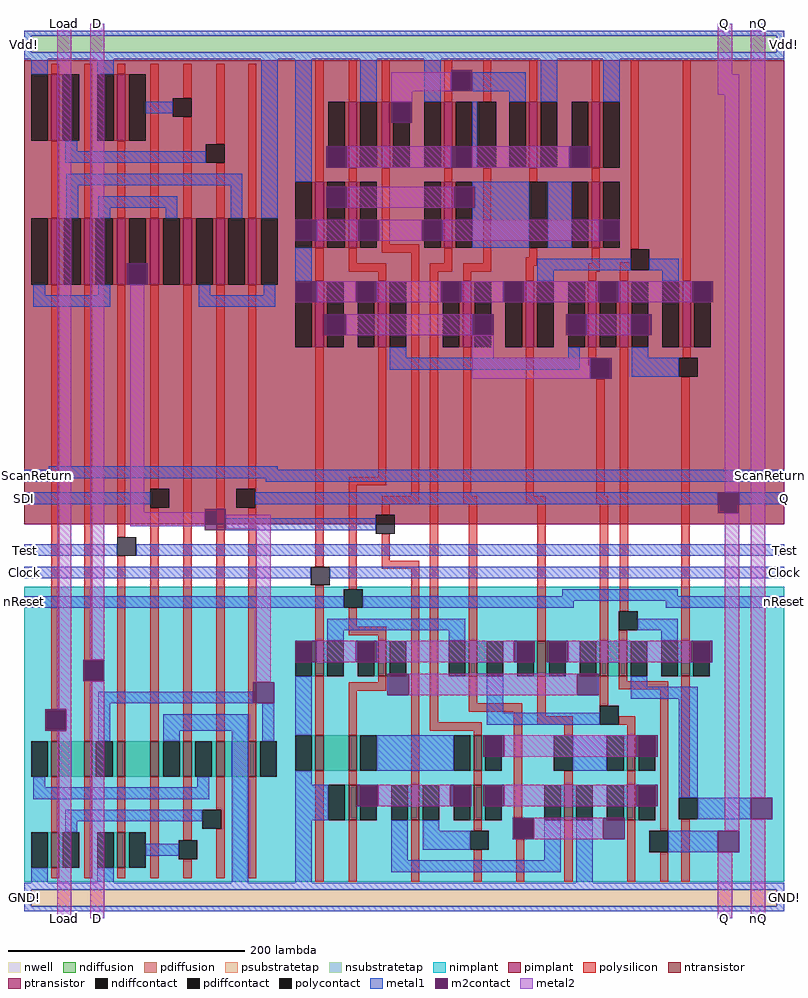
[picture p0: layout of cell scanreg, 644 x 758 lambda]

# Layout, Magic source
magic
tech c35b4
<< pimplant >>
rect 0 334 644 727
<< nimplant >>
rect 0 31 644 281
<< nwell >>
rect 0 334 644 752
<< polysilicon >>
rect 23 715 30 724
rect 23 593 30 659
rect 51 593 58 724
rect 79 715 86 724
rect 79 593 86 659
rect 107 593 114 724
rect 135 695 142 724
rect 135 593 142 679
rect 163 656 170 724
rect 163 593 170 640
rect 190 593 197 724
rect 247 624 254 727
rect 275 692 282 727
rect 303 692 310 727
rect 356 717 363 727
rect 356 701 362 717
rect 356 692 363 701
rect 389 692 396 727
rect 428 692 435 727
rect 481 692 488 727
rect 275 624 282 636
rect 303 571 310 636
rect 356 624 363 636
rect 247 540 254 568
rect 275 555 282 568
rect 303 564 335 571
rect 275 548 307 555
rect 300 540 307 548
rect 23 176 30 537
rect 51 219 58 537
rect 79 323 86 537
rect 107 364 114 537
rect 51 218 62 219
rect 51 201 62 202
rect 23 150 30 160
rect 51 150 58 201
rect 79 150 86 307
rect 107 150 114 348
rect 135 150 142 537
rect 163 150 170 537
rect 190 364 197 537
rect 196 348 197 364
rect 190 150 197 348
rect 247 298 254 484
rect 300 374 307 484
rect 275 367 307 374
rect 247 235 254 282
rect 275 279 282 367
rect 328 358 335 564
rect 356 555 363 568
rect 389 555 396 636
rect 428 624 435 636
rect 481 624 488 636
rect 428 560 435 568
rect 303 351 335 358
rect 344 548 363 555
rect 372 548 396 555
rect 425 553 435 560
rect 481 555 488 568
rect 514 567 521 727
rect 303 342 310 351
rect 303 303 310 326
rect 303 296 335 303
rect 275 247 282 263
rect 275 240 307 247
rect 300 235 307 240
rect 247 155 254 205
rect 300 200 307 205
rect 275 193 307 200
rect 275 155 282 193
rect 23 73 30 120
rect 23 34 30 43
rect 51 34 58 120
rect 79 73 86 120
rect 79 34 86 43
rect 107 34 114 120
rect 135 66 142 120
rect 163 92 170 120
rect 167 76 170 92
rect 135 34 142 50
rect 163 34 170 76
rect 190 34 197 120
rect 247 31 254 125
rect 275 113 282 125
rect 328 113 335 296
rect 344 166 351 548
rect 372 540 379 548
rect 425 540 432 553
rect 478 548 488 555
rect 505 549 514 556
rect 478 540 485 548
rect 505 540 512 549
rect 558 540 565 727
rect 372 358 379 484
rect 425 358 432 484
rect 478 475 485 484
rect 478 468 480 475
rect 485 358 492 457
rect 372 351 384 358
rect 425 351 442 358
rect 485 351 495 358
rect 377 235 384 351
rect 435 235 442 351
rect 488 235 495 351
rect 505 260 512 484
rect 558 475 565 484
rect 504 235 511 244
rect 557 235 564 459
rect 377 182 384 205
rect 377 175 422 182
rect 344 159 388 166
rect 381 155 388 159
rect 381 113 388 125
rect 415 85 422 175
rect 435 171 442 205
rect 488 180 495 205
rect 504 201 511 205
rect 504 194 546 201
rect 435 164 465 171
rect 504 164 518 171
rect 458 155 465 164
rect 511 155 518 164
rect 458 113 465 125
rect 511 113 518 125
rect 275 31 282 83
rect 328 31 335 83
rect 381 74 388 83
rect 381 31 388 58
rect 417 31 424 67
rect 458 31 465 83
rect 511 31 518 83
rect 539 74 546 194
rect 557 102 564 205
rect 539 31 546 56
rect 557 31 564 84
<< ndiffusion >>
rect 244 205 247 235
rect 254 205 257 235
rect 297 205 300 235
rect 307 205 310 235
rect 20 120 23 150
rect 30 120 51 150
rect 58 120 61 150
rect 75 120 79 150
rect 86 120 107 150
rect 114 120 118 150
rect 132 120 135 150
rect 142 120 145 150
rect 159 120 163 150
rect 170 120 190 150
rect 197 120 200 150
rect 244 125 247 155
rect 254 125 275 155
rect 282 125 285 155
rect 20 43 23 73
rect 30 43 33 73
rect 76 43 79 73
rect 86 43 89 73
rect 374 205 377 235
rect 384 205 392 235
rect 432 205 435 235
rect 442 205 445 235
rect 485 205 488 235
rect 495 205 504 235
rect 511 205 514 235
rect 554 205 557 235
rect 564 205 567 235
rect 378 125 381 155
rect 388 125 391 155
rect 272 83 275 113
rect 282 83 285 113
rect 325 83 328 113
rect 335 83 338 113
rect 378 83 381 113
rect 388 83 391 113
rect 508 125 511 155
rect 518 125 521 155
rect 455 83 458 113
rect 465 83 468 113
rect 508 83 511 113
rect 518 83 521 113
<< pdiffusion >>
rect 20 659 23 715
rect 30 659 33 715
rect 76 659 79 715
rect 86 659 89 715
rect 272 636 275 692
rect 282 636 285 692
rect 299 636 303 692
rect 310 636 313 692
rect 353 636 356 692
rect 363 636 366 692
rect 425 636 428 692
rect 435 636 438 692
rect 478 636 481 692
rect 488 636 491 692
rect 20 537 23 593
rect 30 537 34 593
rect 48 537 51 593
rect 58 537 61 593
rect 75 537 79 593
rect 86 537 89 593
rect 103 537 107 593
rect 114 537 118 593
rect 132 537 135 593
rect 142 537 146 593
rect 160 537 163 593
rect 170 537 173 593
rect 187 537 190 593
rect 197 537 201 593
rect 244 568 247 624
rect 254 568 257 624
rect 272 568 275 624
rect 282 568 285 624
rect 353 568 356 624
rect 363 568 366 624
rect 244 484 247 540
rect 254 484 257 540
rect 297 484 300 540
rect 307 484 310 540
rect 478 568 481 624
rect 488 568 491 624
rect 369 484 372 540
rect 379 484 382 540
rect 422 484 425 540
rect 432 484 435 540
rect 475 484 478 540
rect 485 484 488 540
rect 502 484 505 540
rect 512 484 515 540
rect 555 484 558 540
rect 565 484 568 540
<< ntransistor >>
rect 247 205 254 235
rect 300 205 307 235
rect 23 120 30 150
rect 51 120 58 150
rect 79 120 86 150
rect 107 120 114 150
rect 135 120 142 150
rect 163 120 170 150
rect 190 120 197 150
rect 247 125 254 155
rect 275 125 282 155
rect 23 43 30 73
rect 79 43 86 73
rect 377 205 384 235
rect 435 205 442 235
rect 488 205 495 235
rect 504 205 511 235
rect 557 205 564 235
rect 381 125 388 155
rect 275 83 282 113
rect 328 83 335 113
rect 381 83 388 113
rect 511 125 518 155
rect 458 83 465 113
rect 511 83 518 113
<< ptransistor >>
rect 23 659 30 715
rect 79 659 86 715
rect 275 636 282 692
rect 303 636 310 692
rect 356 636 363 692
rect 428 636 435 692
rect 481 636 488 692
rect 23 537 30 593
rect 51 537 58 593
rect 79 537 86 593
rect 107 537 114 593
rect 135 537 142 593
rect 163 537 170 593
rect 190 537 197 593
rect 247 568 254 624
rect 275 568 282 624
rect 356 568 363 624
rect 247 484 254 540
rect 300 484 307 540
rect 481 568 488 624
rect 372 484 379 540
rect 425 484 432 540
rect 478 484 485 540
rect 505 484 512 540
rect 558 484 565 540
<< polycontact >>
rect 126 679 142 695
rect 154 640 170 656
rect 362 701 378 717
rect 384 636 400 692
rect 107 348 123 364
rect 79 307 95 323
rect 51 202 67 218
rect 19 160 35 176
rect 180 348 196 364
rect 243 282 259 298
rect 428 568 444 624
rect 298 326 314 342
rect 271 263 287 279
rect 151 76 167 92
rect 131 50 147 66
rect 514 549 530 567
rect 480 457 496 475
rect 555 459 571 475
rect 504 244 520 260
rect 488 164 504 180
rect 449 125 465 155
rect 378 58 394 74
rect 415 67 431 85
rect 555 84 571 102
rect 530 56 546 74
<< ndiffcontact >>
rect 230 205 244 235
rect 257 205 271 235
rect 283 205 297 235
rect 310 205 324 235
rect 6 120 20 150
rect 61 120 75 150
rect 118 120 132 150
rect 145 120 159 150
rect 200 120 214 150
rect 230 125 244 155
rect 285 125 299 155
rect 6 43 20 73
rect 33 43 47 73
rect 62 43 76 73
rect 89 43 103 73
rect 360 205 374 235
rect 392 205 406 235
rect 418 205 432 235
rect 445 205 459 235
rect 471 205 485 235
rect 514 205 528 235
rect 540 205 554 235
rect 567 205 581 235
rect 364 125 378 155
rect 391 125 405 155
rect 258 83 272 113
rect 285 83 299 113
rect 311 83 325 113
rect 338 83 352 113
rect 364 83 378 113
rect 391 83 405 113
rect 494 125 508 155
rect 521 125 535 155
rect 441 83 455 113
rect 468 83 482 113
rect 494 83 508 113
rect 521 83 535 113
<< pdiffcontact >>
rect 6 659 20 715
rect 33 659 47 715
rect 62 659 76 715
rect 89 659 103 715
rect 258 636 272 692
rect 285 636 299 692
rect 313 636 327 692
rect 339 636 353 692
rect 366 636 380 692
rect 411 636 425 692
rect 438 636 452 692
rect 464 636 478 692
rect 491 636 505 692
rect 6 537 20 593
rect 34 537 48 593
rect 61 537 75 593
rect 89 537 103 593
rect 118 537 132 593
rect 146 537 160 593
rect 173 537 187 593
rect 201 537 215 593
rect 230 568 244 624
rect 257 568 272 624
rect 285 568 299 624
rect 339 568 353 624
rect 366 568 380 624
rect 230 484 244 540
rect 257 484 271 540
rect 283 484 297 540
rect 310 484 324 540
rect 464 568 478 624
rect 491 568 505 624
rect 355 484 369 540
rect 382 484 396 540
rect 408 484 422 540
rect 435 484 449 540
rect 461 484 475 540
rect 488 484 502 540
rect 515 484 529 540
rect 541 484 555 540
rect 568 484 582 540
<< psubstratetap >>
rect 6 10 638 24
<< nsubstratetap >>
rect 6 734 638 748
<< metal1 >>
rect 0 748 644 752
rect 0 734 6 748
rect 638 734 644 748
rect 0 728 644 734
rect 6 715 20 728
rect 62 715 76 728
rect 103 682 126 692
rect 35 650 45 659
rect 35 640 154 650
rect 36 621 185 631
rect 36 593 46 621
rect 63 602 130 612
rect 63 593 73 602
rect 120 593 130 602
rect 175 593 185 621
rect 201 593 215 728
rect 230 624 244 728
rect 285 692 299 728
rect 339 692 353 728
rect 380 701 425 717
rect 411 692 425 701
rect 380 636 384 692
rect 438 692 452 728
rect 491 692 505 728
rect 380 620 428 624
rect 382 602 428 620
rect 380 568 428 602
rect 444 568 464 624
rect 230 540 244 568
rect 435 549 514 559
rect 530 549 555 559
rect 435 540 449 549
rect 541 540 555 549
rect 8 528 18 537
rect 63 528 73 537
rect 8 518 73 528
rect 148 528 158 537
rect 203 528 213 537
rect 148 518 213 528
rect 310 475 324 484
rect 461 475 471 484
rect 515 475 529 484
rect 310 465 471 475
rect 515 459 555 475
rect 21 380 215 383
rect 0 373 644 380
rect 0 370 31 373
rect 205 370 644 373
rect 0 351 107 361
rect 196 351 588 361
rect 606 351 644 361
rect 171 329 298 339
rect 0 307 79 317
rect 95 307 644 317
rect 0 288 243 298
rect 259 288 644 298
rect 0 263 271 273
rect 456 273 554 279
rect 287 269 644 273
rect 287 263 466 269
rect 544 263 644 269
rect 257 244 374 254
rect 520 244 554 254
rect 257 235 271 244
rect 360 235 374 244
rect 540 235 554 244
rect 63 182 194 192
rect 63 150 73 182
rect 118 159 190 173
rect 118 150 132 159
rect 8 111 18 120
rect 147 111 157 120
rect 8 101 157 111
rect 35 82 151 92
rect 35 73 45 82
rect 103 53 131 63
rect 6 30 20 43
rect 62 30 76 43
rect 176 30 190 159
rect 202 150 212 182
rect 230 155 244 205
rect 392 174 406 205
rect 514 196 528 205
rect 514 186 571 196
rect 392 164 488 174
rect 299 125 364 155
rect 465 125 494 155
rect 230 113 244 125
rect 230 83 258 113
rect 230 30 244 83
rect 311 49 325 83
rect 338 74 352 83
rect 338 58 378 74
rect 441 49 455 83
rect 311 39 455 49
rect 555 102 571 186
rect 468 30 482 83
rect 571 84 616 102
rect 546 56 588 74
rect 0 24 644 30
rect 0 10 6 24
rect 638 10 644 24
rect 0 6 644 10
<< m2contact >>
rect 87 537 89 555
rect 89 537 103 555
rect 103 537 105 555
rect 362 717 380 719
rect 362 701 378 717
rect 378 701 380 717
rect 256 636 258 654
rect 258 636 272 654
rect 272 636 274 654
rect 311 674 313 692
rect 313 674 327 692
rect 327 674 329 692
rect 362 636 366 654
rect 366 636 380 654
rect 462 636 464 654
rect 464 636 478 654
rect 478 636 480 654
rect 256 602 257 620
rect 257 602 272 620
rect 272 602 274 620
rect 230 574 244 592
rect 244 574 248 592
rect 364 602 366 620
rect 366 602 380 620
rect 380 602 382 620
rect 283 574 285 592
rect 285 574 299 592
rect 299 574 301 592
rect 337 574 339 592
rect 339 574 353 592
rect 353 574 355 592
rect 487 574 491 592
rect 491 574 505 592
rect 230 522 244 540
rect 244 522 248 540
rect 281 522 283 540
rect 283 522 297 540
rect 297 522 299 540
rect 255 494 257 512
rect 257 494 271 512
rect 271 494 273 512
rect 353 522 355 540
rect 355 522 369 540
rect 369 522 371 540
rect 406 522 408 540
rect 408 522 422 540
rect 422 522 424 540
rect 380 494 382 512
rect 382 494 396 512
rect 396 494 398 512
rect 486 522 488 540
rect 488 522 502 540
rect 502 522 504 540
rect 459 494 461 512
rect 461 494 475 512
rect 475 494 477 512
rect 514 494 515 512
rect 515 494 529 512
rect 529 494 532 512
rect 566 522 568 540
rect 568 522 582 540
rect 582 522 584 540
rect 480 457 496 475
rect 496 457 498 475
rect 153 329 171 347
rect 588 343 606 361
rect 50 218 68 219
rect 50 202 51 218
rect 51 202 67 218
rect 67 202 68 218
rect 50 201 68 202
rect 230 217 244 235
rect 244 217 248 235
rect 281 217 283 235
rect 283 217 297 235
rect 297 217 299 235
rect 308 205 310 207
rect 310 205 324 207
rect 324 205 326 207
rect 415 217 418 235
rect 418 217 432 235
rect 432 217 433 235
rect 443 217 445 235
rect 445 217 459 235
rect 459 217 461 235
rect 469 205 471 207
rect 471 205 485 207
rect 485 205 487 207
rect 194 182 212 200
rect 18 176 36 177
rect 18 160 19 176
rect 19 160 35 176
rect 35 160 36 176
rect 18 159 36 160
rect 308 189 326 205
rect 469 189 487 205
rect 565 217 567 235
rect 567 217 581 235
rect 581 217 583 235
rect 389 137 391 155
rect 391 137 405 155
rect 405 137 407 155
rect 519 137 521 155
rect 521 137 535 155
rect 535 137 537 155
rect 282 95 285 113
rect 285 95 299 113
rect 299 95 300 113
rect 361 95 364 113
rect 364 95 378 113
rect 378 95 379 113
rect 389 95 391 113
rect 391 95 405 113
rect 405 95 407 113
rect 414 67 415 85
rect 415 67 431 85
rect 431 67 432 85
rect 519 95 521 113
rect 521 95 535 113
rect 535 95 537 113
rect 491 83 494 85
rect 494 83 508 85
rect 508 83 509 85
rect 616 84 634 102
rect 491 67 509 83
rect 588 56 606 74
<< metal2 >>
rect 28 177 40 758
rect 56 219 68 758
rect 311 701 362 717
rect 588 715 600 758
rect 311 692 329 701
rect 588 698 606 715
rect 274 636 362 654
rect 380 636 462 654
rect 274 602 364 620
rect 248 574 283 592
rect 301 574 337 592
rect 355 574 487 592
rect 90 344 102 537
rect 248 522 281 540
rect 299 522 353 540
rect 371 522 406 540
rect 424 522 486 540
rect 504 522 566 540
rect 273 494 380 512
rect 477 494 514 512
rect 380 475 398 494
rect 380 457 480 475
rect 594 361 606 698
rect 90 332 153 344
rect 171 330 209 342
rect 36 159 40 177
rect 28 0 40 159
rect 56 0 68 201
rect 197 200 209 330
rect 248 217 281 235
rect 299 217 415 235
rect 461 217 565 235
rect 326 189 469 207
rect 407 137 519 155
rect 300 95 361 113
rect 407 95 519 113
rect 432 67 491 85
rect 594 74 606 343
rect 616 102 628 758
rect 588 0 600 56
rect 616 0 628 84
<< labels >>
rlabel metal1 0 728 0 752 3 Vdd!
rlabel metal2 28 758 40 758 5 Load
rlabel metal2 56 758 68 758 5 D
rlabel metal2 588 758 600 758 5 Q
rlabel metal2 616 758 628 758 5 nQ
rlabel metal1 644 728 644 752 7 Vdd!
rlabel metal1 644 263 644 273 7 nReset
rlabel metal1 644 288 644 298 7 Clock
rlabel metal1 644 307 644 317 7 Test
rlabel metal1 644 351 644 361 7 Q
rlabel metal1 644 370 644 380 7 ScanReturn
rlabel metal1 644 6 644 30 7 GND!
rlabel metal2 588 0 600 0 1 Q
rlabel metal2 616 0 628 0 1 nQ
rlabel metal2 56 0 68 0 1 D
rlabel metal2 28 0 40 0 1 Load
rlabel metal1 0 6 0 30 3 GND!
rlabel metal1 0 263 0 273 3 nReset
rlabel metal1 0 288 0 298 3 Clock
rlabel metal1 0 307 0 317 3 Test
rlabel metal1 0 351 0 361 3 SDI
rlabel metal1 0 370 0 380 3 ScanReturn
<< end >>
